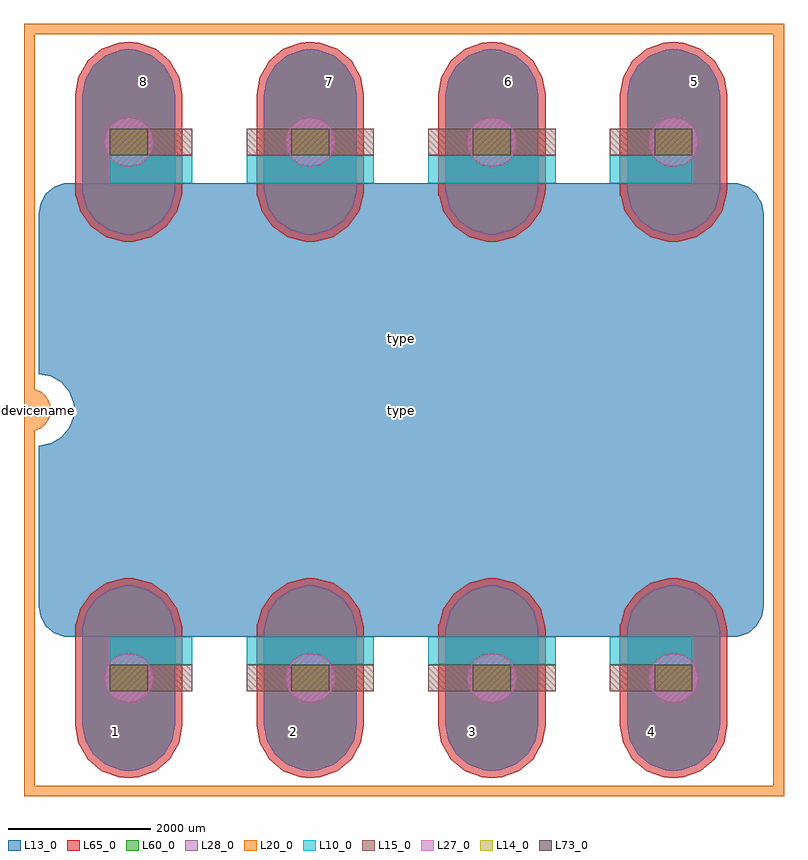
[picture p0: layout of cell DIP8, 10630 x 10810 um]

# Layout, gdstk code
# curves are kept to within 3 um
import gdstk
lib = gdstk.Library(unit=1e-6, precision=1e-09)
def R(c, l, rs):  # rectangles x0, y0, x1, y1
    for r in rs: c.add(gdstk.rectangle(r[:2], r[2:], *l))
def A(c, l, x, y, w, h, nx, ny, dx, dy):  # array of equal rectangles
    R(c, l, [(x+i*dx, y+j*dy, x+i*dx+w, y+j*dy+h) for i in range(nx) for j in range(ny)])
def P(c, l, *ps):  # polygons
    for p in ps: c.add(gdstk.Polygon(p, *l))
L10_0 = (10, 0)
L13_0 = (13, 0)
L14_0 = (14, 0)
L15_0 = (15, 0)
L20_0 = (20, 0)
L27_0 = (27, 0)
L28_0 = (28, 0)
L60_0 = (60, 0)
L65_0 = (65, 0)
L73_0 = (73, 0)

dip8 = lib.new_cell('DIP8')
R(dip8, L10_0, [(-575,-3565,580,-3175), (1340,-3565,3120,-3175), (3880,-3565,5660,-3175), (6420,-3565,7575,-3175), (-575,3175,580,3565), (1340,3175,3120,3565), (3880,3175,5660,3565), (6420,3175,7575,3565)])
P(dip8, L13_0, [(8210.537,3170.891),(-1210.537,3170.891),(-1352.5,3119.221),(-1468.229,3022.113),(-1543.766,2891.279),(-1570,2742.5),(-1570,502.063),(-1403.99,472.346),(-1253.606,385.522),(-1141.987,252.5),(-1082.596,89.324),(-1082.596,-84.324),(-1141.987,-247.5),(-1253.606,-380.522),(-1403.99,-467.346),(-1570,-497.063),(-1570,-2742.5),(-1543.766,-2891.279),(-1468.229,-3022.113),(-1352.5,-3119.221),(-1210.537,-3170.891),(8210.537,-3170.891),(8352.5,-3119.221),(8468.229,-3022.113),(8543.766,-2891.279),(8570,-2742.5),(8570,2742.5),(8543.766,2891.279),(8468.229,3022.113),(8352.5,3119.221)])
A(dip8, L14_0, -575, -3935, 530, 370, 4, 2, 2540, 7500)
R(dip8, L15_0, [(-575,-3935,580,-3565), (1340,-3935,3120,-3565), (3880,-3935,5660,-3565), (6420,-3935,7575,-3565), (-575,3565,580,3935), (1340,3565,3120,3935), (3880,3565,5660,3935), (6420,3565,7575,3935)])
P(dip8, L20_0, [(-1700,300),(-1700,-300),(-1647.906,-295.442),(-1597.394,-281.908),(-1527.927,-245.746),(-1487.868,-212.132),(-1454.254,-172.073),(-1418.092,-102.606),(-1404.558,-52.094),(-1400,0),(-1404.558,52.094),(-1418.092,102.606),(-1454.254,172.073),(-1487.868,212.132),(-1527.927,245.746),(-1597.394,281.908),(-1647.906,295.442)])
P(dip8, L27_0, [(7660,-3750),(7633.358,-3616.061),(7557.487,-3502.513),(7443.939,-3426.642),(7310,-3400),(7176.061,-3426.642),(7062.513,-3502.513),(6986.642,-3616.061),(6960,-3750),(6986.642,-3883.939),(7062.513,-3997.487),(7176.061,-4073.358),(7310,-4100),(7443.939,-4073.358),(7557.487,-3997.487),(7633.358,-3883.939)],
  [(5120,-3750),(5093.358,-3616.061),(5017.487,-3502.513),(4903.939,-3426.642),(4770,-3400),(4636.061,-3426.642),(4522.513,-3502.513),(4446.642,-3616.061),(4420,-3750),(4446.642,-3883.939),(4522.513,-3997.487),(4636.061,-4073.358),(4770,-4100),(4903.939,-4073.358),(5017.487,-3997.487),(5093.358,-3883.939)],
  [(2580,-3750),(2553.358,-3616.061),(2477.487,-3502.513),(2363.939,-3426.642),(2230,-3400),(2096.061,-3426.642),(1982.513,-3502.513),(1906.642,-3616.061),(1880,-3750),(1906.642,-3883.939),(1982.513,-3997.487),(2096.061,-4073.358),(2230,-4100),(2363.939,-4073.358),(2477.487,-3997.487),(2553.358,-3883.939)],
  [(40,-3750),(13.358,-3616.061),(-62.513,-3502.513),(-176.061,-3426.642),(-310,-3400),(-443.939,-3426.642),(-557.487,-3502.513),(-633.358,-3616.061),(-660,-3750),(-633.358,-3883.939),(-557.487,-3997.487),(-443.939,-4073.358),(-310,-4100),(-176.061,-4073.358),(-62.513,-3997.487),(13.358,-3883.939)],
  [(40,3750),(13.358,3883.939),(-62.513,3997.487),(-176.061,4073.358),(-310,4100),(-443.939,4073.358),(-557.487,3997.487),(-633.358,3883.939),(-660,3750),(-633.358,3616.061),(-557.487,3502.513),(-443.939,3426.642),(-310,3400),(-176.061,3426.642),(-62.513,3502.513),(13.358,3616.061)],
  [(2580,3750),(2553.358,3883.939),(2477.487,3997.487),(2363.939,4073.358),(2230,4100),(2096.061,4073.358),(1982.513,3997.487),(1906.642,3883.939),(1880,3750),(1906.642,3616.061),(1982.513,3502.513),(2096.061,3426.642),(2230,3400),(2363.939,3426.642),(2477.487,3502.513),(2553.358,3616.061)],
  [(5120,3750),(5093.358,3883.939),(5017.487,3997.487),(4903.939,4073.358),(4770,4100),(4636.061,4073.358),(4522.513,3997.487),(4446.642,3883.939),(4420,3750),(4446.642,3616.061),(4522.513,3502.513),(4636.061,3426.642),(4770,3400),(4903.939,3426.642),(5017.487,3502.513),(5093.358,3616.061)],
  [(7660,3750),(7633.358,3883.939),(7557.487,3997.487),(7443.939,4073.358),(7310,4100),(7176.061,4073.358),(7062.513,3997.487),(6986.642,3883.939),(6960,3750),(6986.642,3616.061),(7062.513,3502.513),(7176.061,3426.642),(7310,3400),(7443.939,3426.642),(7557.487,3502.513),(7633.358,3616.061)])
P(dip8, L28_0, [(7310,-5050),(7422.871,-5040.125),(7635,-4962.917),(7807.929,-4817.812),(7920.8,-4622.313),(7960,-4400),(7960,-3100),(7957.527,-3043.349),(7899.1,-2825.298),(7769.619,-2640.381),(7584.702,-2510.9),(7366.651,-2452.473),(7310,-2450),(7253.349,-2452.473),(7035.298,-2510.9),(6850.381,-2640.381),(6720.9,-2825.298),(6662.473,-3043.349),(6660,-3099.235),(6660,-4400),(6699.2,-4622.313),(6812.071,-4817.812),(6985,-4962.917),(7197.129,-5040.125)],
  [(4770,-5050),(4882.871,-5040.125),(5095,-4962.917),(5267.929,-4817.812),(5380.8,-4622.313),(5420,-4400),(5420,-3100),(5417.527,-3043.349),(5359.1,-2825.298),(5229.619,-2640.381),(5044.702,-2510.9),(4826.651,-2452.473),(4770,-2450),(4713.349,-2452.473),(4495.298,-2510.9),(4310.381,-2640.381),(4180.9,-2825.298),(4122.473,-3043.349),(4120,-3099.235),(4120,-4400),(4159.2,-4622.313),(4272.071,-4817.812),(4445,-4962.917),(4657.129,-5040.125)],
  [(2230,-5050),(2342.871,-5040.125),(2555,-4962.917),(2727.929,-4817.812),(2840.8,-4622.313),(2880,-4400),(2880,-3100),(2877.527,-3043.349),(2819.1,-2825.298),(2689.619,-2640.381),(2504.702,-2510.9),(2286.651,-2452.473),(2230,-2450),(2173.349,-2452.473),(1955.298,-2510.9),(1770.381,-2640.381),(1640.9,-2825.298),(1582.473,-3043.349),(1580,-3099.235),(1580,-4400),(1619.2,-4622.313),(1732.071,-4817.812),(1905,-4962.917),(2117.129,-5040.125)],
  [(-310,-5050),(-197.129,-5040.125),(15,-4962.917),(187.929,-4817.812),(300.8,-4622.313),(340,-4400),(340,-3100),(337.527,-3043.349),(279.1,-2825.298),(149.619,-2640.381),(-35.298,-2510.9),(-253.349,-2452.473),(-310,-2450),(-366.651,-2452.473),(-584.702,-2510.9),(-769.619,-2640.381),(-899.1,-2825.298),(-957.527,-3043.349),(-960,-3099.235),(-960,-4400),(-920.8,-4622.313),(-807.929,-4817.812),(-635,-4962.917),(-422.871,-5040.125)],
  [(-310,5050),(-422.871,5040.125),(-635,4962.917),(-807.929,4817.812),(-920.8,4622.313),(-960,4400),(-960,3099.235),(-957.527,3043.349),(-899.1,2825.298),(-769.619,2640.381),(-584.702,2510.9),(-366.651,2452.473),(-310,2450),(-253.349,2452.473),(-35.298,2510.9),(149.619,2640.381),(279.1,2825.298),(337.527,3043.349),(340,3100),(340,4400),(300.8,4622.313),(187.929,4817.812),(15,4962.917),(-197.129,5040.125)],
  [(2230,5050),(2117.129,5040.125),(1905,4962.917),(1732.071,4817.812),(1619.2,4622.313),(1580,4400),(1580,3099.235),(1582.473,3043.349),(1640.9,2825.298),(1770.381,2640.381),(1955.298,2510.9),(2173.349,2452.473),(2230,2450),(2286.651,2452.473),(2504.702,2510.9),(2689.619,2640.381),(2819.1,2825.298),(2877.527,3043.349),(2880,3100),(2880,4400),(2840.8,4622.313),(2727.929,4817.812),(2555,4962.917),(2342.871,5040.125)],
  [(4770,5050),(4657.129,5040.125),(4445,4962.917),(4272.071,4817.812),(4159.2,4622.313),(4120,4400),(4120,3099.235),(4122.473,3043.349),(4180.9,2825.298),(4310.381,2640.381),(4495.298,2510.9),(4713.349,2452.473),(4770,2450),(4826.651,2452.473),(5044.702,2510.9),(5229.619,2640.381),(5359.1,2825.298),(5417.527,3043.349),(5420,3100),(5420,4400),(5380.8,4622.313),(5267.929,4817.812),(5095,4962.917),(4882.871,5040.125)],
  [(7310,5050),(7197.129,5040.125),(6985,4962.917),(6812.071,4817.812),(6699.2,4622.313),(6660,4400),(6660,3099.235),(6662.473,3043.349),(6720.9,2825.298),(6850.381,2640.381),(7035.298,2510.9),(7253.349,2452.473),(7310,2450),(7366.651,2452.473),(7584.702,2510.9),(7769.619,2640.381),(7899.1,2825.298),(7957.527,3043.349),(7960,3100),(7960,4400),(7920.8,4622.313),(7807.929,4817.812),(7635,4962.917),(7422.871,5040.125)])
P(dip8, L60_0, [(7310,-5050),(7422.871,-5040.125),(7635,-4962.917),(7807.929,-4817.812),(7920.8,-4622.313),(7960,-4400),(7960,-3100),(7957.527,-3043.349),(7899.1,-2825.298),(7769.619,-2640.381),(7584.702,-2510.9),(7366.651,-2452.473),(7310,-2450),(7253.349,-2452.473),(7035.298,-2510.9),(6850.381,-2640.381),(6720.9,-2825.298),(6662.473,-3043.349),(6660,-3099.235),(6660,-4400),(6699.2,-4622.313),(6812.071,-4817.812),(6985,-4962.917),(7197.129,-5040.125)],
  [(4770,-5050),(4882.871,-5040.125),(5095,-4962.917),(5267.929,-4817.812),(5380.8,-4622.313),(5420,-4400),(5420,-3100),(5417.527,-3043.349),(5359.1,-2825.298),(5229.619,-2640.381),(5044.702,-2510.9),(4826.651,-2452.473),(4770,-2450),(4713.349,-2452.473),(4495.298,-2510.9),(4310.381,-2640.381),(4180.9,-2825.298),(4122.473,-3043.349),(4120,-3099.235),(4120,-4400),(4159.2,-4622.313),(4272.071,-4817.812),(4445,-4962.917),(4657.129,-5040.125)],
  [(2230,-5050),(2342.871,-5040.125),(2555,-4962.917),(2727.929,-4817.812),(2840.8,-4622.313),(2880,-4400),(2880,-3100),(2877.527,-3043.349),(2819.1,-2825.298),(2689.619,-2640.381),(2504.702,-2510.9),(2286.651,-2452.473),(2230,-2450),(2173.349,-2452.473),(1955.298,-2510.9),(1770.381,-2640.381),(1640.9,-2825.298),(1582.473,-3043.349),(1580,-3099.235),(1580,-4400),(1619.2,-4622.313),(1732.071,-4817.812),(1905,-4962.917),(2117.129,-5040.125)],
  [(-310,-5050),(-197.129,-5040.125),(15,-4962.917),(187.929,-4817.812),(300.8,-4622.313),(340,-4400),(340,-3100),(337.527,-3043.349),(279.1,-2825.298),(149.619,-2640.381),(-35.298,-2510.9),(-253.349,-2452.473),(-310,-2450),(-366.651,-2452.473),(-584.702,-2510.9),(-769.619,-2640.381),(-899.1,-2825.298),(-957.527,-3043.349),(-960,-3099.235),(-960,-4400),(-920.8,-4622.313),(-807.929,-4817.812),(-635,-4962.917),(-422.871,-5040.125)],
  [(-310,5050),(-422.871,5040.125),(-635,4962.917),(-807.929,4817.812),(-920.8,4622.313),(-960,4400),(-960,3099.235),(-957.527,3043.349),(-899.1,2825.298),(-769.619,2640.381),(-584.702,2510.9),(-366.651,2452.473),(-310,2450),(-253.349,2452.473),(-35.298,2510.9),(149.619,2640.381),(279.1,2825.298),(337.527,3043.349),(340,3100),(340,4400),(300.8,4622.313),(187.929,4817.812),(15,4962.917),(-197.129,5040.125)],
  [(2230,5050),(2117.129,5040.125),(1905,4962.917),(1732.071,4817.812),(1619.2,4622.313),(1580,4400),(1580,3099.235),(1582.473,3043.349),(1640.9,2825.298),(1770.381,2640.381),(1955.298,2510.9),(2173.349,2452.473),(2230,2450),(2286.651,2452.473),(2504.702,2510.9),(2689.619,2640.381),(2819.1,2825.298),(2877.527,3043.349),(2880,3100),(2880,4400),(2840.8,4622.313),(2727.929,4817.812),(2555,4962.917),(2342.871,5040.125)],
  [(4770,5050),(4657.129,5040.125),(4445,4962.917),(4272.071,4817.812),(4159.2,4622.313),(4120,4400),(4120,3099.235),(4122.473,3043.349),(4180.9,2825.298),(4310.381,2640.381),(4495.298,2510.9),(4713.349,2452.473),(4770,2450),(4826.651,2452.473),(5044.702,2510.9),(5229.619,2640.381),(5359.1,2825.298),(5417.527,3043.349),(5420,3100),(5420,4400),(5380.8,4622.313),(5267.929,4817.812),(5095,4962.917),(4882.871,5040.125)],
  [(7310,5050),(7197.129,5040.125),(6985,4962.917),(6812.071,4817.812),(6699.2,4622.313),(6660,4400),(6660,3099.235),(6662.473,3043.349),(6720.9,2825.298),(6850.381,2640.381),(7035.298,2510.9),(7253.349,2452.473),(7310,2450),(7366.651,2452.473),(7584.702,2510.9),(7769.619,2640.381),(7899.1,2825.298),(7957.527,3043.349),(7960,3100),(7960,4400),(7920.8,4622.313),(7807.929,4817.812),(7635,4962.917),(7422.871,5040.125)])
P(dip8, L65_0, [(7175.297,-5138.597),(7310,-5150.382),(7444.703,-5138.597),(7685.768,-5050.857),(7885.715,-4883.082),(8016.218,-4657.043),(8060.382,-4406.578),(8060.094,-3100.009),(8056.953,-3028.043),(7991.128,-2782.382),(7841.422,-2568.581),(7627.618,-2418.872),(7381.955,-2353.047),(7310,-2349.906),(7238.045,-2353.047),(6992.382,-2418.872),(6778.578,-2568.581),(6628.872,-2782.382),(6563.047,-3028.043),(6564.304,-2999.235),(6560,-2999.235),(6560,-4408.744),(6603.782,-4657.043),(6734.285,-4883.082),(6934.232,-5050.857)],
  [(4635.297,-5138.597),(4770,-5150.382),(4904.703,-5138.597),(5145.768,-5050.857),(5345.715,-4883.082),(5476.218,-4657.043),(5520.382,-4406.578),(5520.094,-3100.009),(5516.953,-3028.043),(5451.128,-2782.382),(5301.422,-2568.581),(5087.618,-2418.872),(4841.955,-2353.047),(4770,-2349.906),(4698.045,-2353.047),(4452.382,-2418.872),(4238.578,-2568.581),(4088.872,-2782.382),(4023.047,-3028.043),(4024.304,-2999.235),(4020,-2999.235),(4020,-4408.744),(4063.782,-4657.043),(4194.285,-4883.082),(4394.232,-5050.857)],
  [(2095.297,-5138.597),(2230,-5150.382),(2364.703,-5138.597),(2605.768,-5050.857),(2805.715,-4883.082),(2936.218,-4657.043),(2980.382,-4406.578),(2980.094,-3100.009),(2976.953,-3028.043),(2911.128,-2782.382),(2761.422,-2568.581),(2547.618,-2418.872),(2301.955,-2353.047),(2230,-2349.906),(2158.045,-2353.047),(1912.382,-2418.872),(1698.578,-2568.581),(1548.872,-2782.382),(1483.047,-3028.043),(1484.304,-2999.235),(1480,-2999.235),(1480,-4408.744),(1523.782,-4657.043),(1654.285,-4883.082),(1854.232,-5050.857)],
  [(-444.703,-5138.597),(-310,-5150.382),(-175.297,-5138.597),(65.768,-5050.857),(265.715,-4883.082),(396.218,-4657.043),(440.382,-4406.578),(440.094,-3100.009),(436.953,-3028.043),(371.128,-2782.382),(221.422,-2568.581),(7.618,-2418.872),(-238.045,-2353.047),(-310,-2349.906),(-381.955,-2353.047),(-627.618,-2418.872),(-841.422,-2568.581),(-991.128,-2782.382),(-1056.953,-3028.043),(-1055.696,-2999.235),(-1060,-2999.235),(-1060,-4408.744),(-1016.218,-4657.043),(-885.715,-4883.082),(-685.768,-5050.857)],
  [(-175.297,5138.597),(-310,5150.382),(-444.703,5138.597),(-685.768,5050.857),(-885.715,4883.082),(-1016.218,4657.043),(-1060,4408.744),(-1060,2999.235),(-1055.696,2999.235),(-1056.953,3028.043),(-991.128,2782.382),(-841.422,2568.581),(-627.618,2418.872),(-381.955,2353.047),(-310,2349.906),(-238.045,2353.047),(7.618,2418.872),(221.422,2568.581),(371.128,2782.382),(436.953,3028.043),(440.382,4406.578),(396.218,4657.043),(265.715,4883.082),(65.768,5050.857)],
  [(2364.703,5138.597),(2230,5150.382),(2095.297,5138.597),(1854.232,5050.857),(1654.285,4883.082),(1523.782,4657.043),(1480,4408.744),(1480,2999.235),(1484.304,2999.235),(1483.047,3028.043),(1548.872,2782.382),(1698.578,2568.581),(1912.382,2418.872),(2158.045,2353.047),(2230,2349.906),(2301.955,2353.047),(2547.618,2418.872),(2761.422,2568.581),(2911.128,2782.382),(2976.953,3028.043),(2980.382,4406.578),(2936.218,4657.043),(2805.715,4883.082),(2605.768,5050.857)],
  [(4904.703,5138.597),(4770,5150.382),(4635.297,5138.597),(4394.232,5050.857),(4194.285,4883.082),(4063.782,4657.043),(4020,4408.744),(4020,2999.235),(4024.304,2999.235),(4023.047,3028.043),(4088.872,2782.382),(4238.578,2568.581),(4452.382,2418.872),(4698.045,2353.047),(4770,2349.906),(4841.955,2353.047),(5087.618,2418.872),(5301.422,2568.581),(5451.128,2782.382),(5516.953,3028.043),(5520.382,4406.578),(5476.218,4657.043),(5345.715,4883.082),(5145.768,5050.857)],
  [(7444.703,5138.597),(7310,5150.382),(7175.297,5138.597),(6934.232,5050.857),(6734.285,4883.082),(6603.782,4657.043),(6560,4408.744),(6560,2999.235),(6564.304,2999.235),(6563.047,3028.043),(6628.872,2782.382),(6778.578,2568.581),(6992.382,2418.872),(7238.045,2353.047),(7310,2349.906),(7381.955,2353.047),(7627.618,2418.872),(7841.422,2568.581),(7991.128,2782.382),(8056.953,3028.043),(8060.382,4406.578),(8016.218,4657.043),(7885.715,4883.082),(7685.768,5050.857)])
A(dip8, L73_0, -575, -3935, 530, 370, 4, 2, 2540, 7500)
dip8.add(gdstk.FlexPath([(-1700,5255),(-1700,-5330),(8780,-5330),(8780,5330),(-1775,5330)], 150, ends="flush", simple_path=True, layer=20, datatype=0))  # L20_0
dip8.add(gdstk.Label('devicename', (-2100,0), layer=20, texttype=0))
dip8.add(gdstk.Label('type', (3500,1000), layer=11, texttype=0))
dip8.add(gdstk.Label('1', (-500,-4500), layer=28, texttype=0))
dip8.add(gdstk.Label('type', (3500,0), layer=20, texttype=0))
dip8.add(gdstk.Label('2', (2000,-4500), layer=28, texttype=0))
dip8.add(gdstk.Label('3', (4500,-4500), layer=28, texttype=0))
dip8.add(gdstk.Label('4', (7000,-4500), layer=28, texttype=0))
dip8.add(gdstk.Label('5', (7600,4600), layer=28, texttype=0))
dip8.add(gdstk.Label('6', (5000,4600), layer=28, texttype=0))
dip8.add(gdstk.Label('7', (2500,4600), layer=28, texttype=0))
dip8.add(gdstk.Label('8', (-100,4600), layer=28, texttype=0))

lib.write_gds('DIP8.gds')
